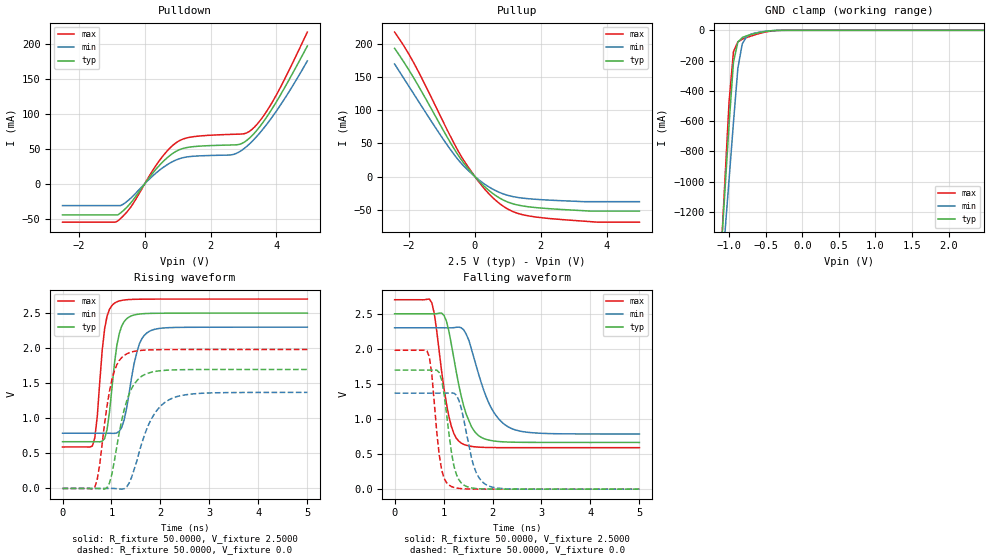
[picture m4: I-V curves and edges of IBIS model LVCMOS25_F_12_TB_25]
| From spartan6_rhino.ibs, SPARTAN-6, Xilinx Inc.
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|   Model LVCMOS25_F_12_TB_25
[Model]  LVCMOS25_F_12_TB_25
Model_type I/O
Polarity   Non-Inverting
Enable   Active-Low
Vinl =   0.7000V
Vinh =   1.7000V
Vmeas =  1.2500V
Cref =   0.0F
Rref =   1.0000M
Vref =   0.0V
C_comp   5.71pF   5.63pF   6.21pF
|C_comp   6.33pF   6.15pF   6.69pF
[Temperature Range]   25.0000   85.0000   0.0
[Voltage Range]   2.5000V   2.3000V   2.7000V
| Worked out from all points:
|   slope of the pulldown table from 0 to 0.375 V, typ, clamps not added: 16.5 ohm
|   slope of the pullup table from 0 to 0.375 V, typ, clamps not added: 19.9 ohm
|   GND clamp passes 1 mA (typ) near -0.36 V on its own axis
|   rising waveform, R_fixture 50.0000, V_fixture 2.5000: 20-80 % time 189ps typ, 250ps min, 153ps max; typ from 0.666 V to 2.5 V
|   rising waveform, R_fixture 50.0000, V_fixture 0.0: 20-80 % time 324ps typ, 445ps min, 252ps max; typ from 0 V to 1.7 V
|   falling waveform, R_fixture 50.0000, V_fixture 2.5000: 20-80 % time 343ps typ, 464ps min, 261ps max; typ from 2.5 V to 0.666 V
|   falling waveform, R_fixture 50.0000, V_fixture 0.0: 20-80 % time 199ps typ, 266ps min, 166ps max; typ from 1.7 V to 0 V
[Pulldown]
|Voltage   I(typ)   I(min)   I(max)
-2.5V     -44.83mA   -31.48mA   -55.28mA
-820mV    -44.83mA   -31.48mA   -53.49mA
-420mV    -27.23mA   -20.53mA   -33.16mA
460mV     27.15mA    19.89mA    34.21mA
940mV     46.23mA    33.88mA    58.48mA
1.42V     52.95mA    39.21mA    67.16mA
2.7V      55.71mA    42.13mA    71mA
2.94V     57.58mA    47.77mA    71.38mA
3.18V     65.42mA    57.04mA    75.18mA
3.5V      82.27mA    73.18mA    90.4mA
3.9V      110mA      97.7mA     119.2mA
4.94V     197.8mA    176.4mA    217.8mA
[Pullup]
|Voltage   I(typ)   I(min)   I(max)
-2.44V    193.7mA    170mA      218.3mA
-2.12V    170mA      145.2mA    194.3mA
-1.8V     144.1mA    120.3mA    166.4mA
-1V       73.4mA     59.15mA    86.43mA
-520mV    33.18mA    26.16mA    39.71mA
-280mV    16.65mA    12.89mA    20.02mA
200mV     -10.72mA   -8.051mA   -13.21mA
760mV     -32.74mA   -24.27mA   -41.21mA
1.24V     -42.34mA   -31.1mA    -54.6mA
1.88V     -47.06mA   -34.52mA   -61.36mA
3.72V     -52.2mA    -38mA      -68.9mA
5V        -52.2mA    -38mA      -69mA
[GND_clamp]
|Voltage   I(typ)   I(min)   I(max)
-2.5V     -12.34A    -10.45A    -14.37A
-1.12V    -1.552A    -1.737A    -1.574A
-1.06V    -1.086A    -1.36A     -1.022A
-1V       -620.4mA   -984.2mA   -471mA
-940mV    -209.6mA   -607.7mA   -140.9mA
-880mV    -78.13mA   -250.8mA   -75.95mA
-820mV    -47.69mA   -89.21mA   -58.81mA
-760mV    -36.14mA   -40.83mA   -47.69mA
-700mV    -27.77mA   -25.02mA   -37.69mA
-520mV    -8.687mA   -7.489mA   -13.24mA
-400mV    -1.765mA   -1.693mA   -3.422mA
2.48V     29.1nA     237.4nA    26.83nA
[POWER_clamp]
|Voltage   I(typ)   I(min)   I(max)
-2.49V    0A         0A         0A
-2.46V    0A         0A         0A
-2.43V    0A         0A         0A
0V        0A         0A         0A
[Ramp]
| variable   typ   min   max
dV/dt_r  1.0176/0.3215n   0.8214/0.4442n   1.1880/0.2495n
dV/dt_f  1.1003/0.3383n   0.9079/0.4610n   1.2651/0.2599n
R_load = 50.0000
[Rising Waveform]
R_fixture= 50.0000
V_fixture= 2.5000
V_fixture_min= 2.3000
V_fixture_max= 2.7000
|time   V(typ)   V(min)   V(max)
0s        666.2mV    787.2mV    591.5mV
610ps     666.2mV    786.8mV    605.5mV
710ps     665.9mV    786.8mV    1.027V
860ps     711.4mV    786.8mV    2.277V
960ps     1.093V     786.6mV    2.554V
1.06ns    1.777V     785mV      2.641V
1.26ns    2.379V     980.7mV    2.686V
1.52ns    2.48V      1.944V     2.696V
1.77ns    2.494V     2.238V     2.698V
5ns       2.499V     2.299V     2.699V
[Rising Waveform]
R_fixture= 50.0000
V_fixture= 0.0
|time   V(typ)   V(min)   V(max)
0s        0V         4.306uV    3.744uV
660ps     4.656uV    -4.821uV   20.05mV
760ps     -745.3uV   -4.264uV   343.2mV
910ps     13.03mV    -32.63uV   1.182V
1.01ns    208.9mV    320.2uV    1.557V
1.31ns    1.244V     22.28mV    1.918V
1.46ns    1.485V     264.8mV    1.954V
1.77ns    1.648V     928.2mV    1.975V
2.17ns    1.687V     1.262V     1.979V
5ns       1.696V     1.369V     1.98V
[Falling Waveform]
R_fixture= 50.0000
V_fixture= 2.5000
V_fixture_min= 2.3000
V_fixture_max= 2.7000
|time   V(typ)   V(min)   V(max)
0s        2.5V       2.3V       2.7V
760ps     2.499V     2.3V       2.655V
1.06ns    2.391V     2.299V     1.214V
1.21ns    1.865V     2.302V     793.3mV
1.36ns    1.326V     2.301V     656.9mV
1.52ns    971.4mV    2.115V     616.5mV
1.67ns    791.7mV    1.75V      601.5mV
1.97ns    693.3mV    1.163V     593.3mV
2.32ns    671.6mV    887.9mV    591.7mV
5ns       666.2mV    786.9mV    591.5mV
[Falling Waveform]
R_fixture= 50.0000
V_fixture= 0.0
|time   V(typ)   V(min)   V(max)
0s        1.697V     1.369V     1.98V
660ps     1.697V     1.369V     1.973V
760ps     1.697V     1.369V     1.637V
860ps     1.697V     1.369V     823.6mV
960ps     1.56V      1.369V     278.2mV
1.16ns    530.7mV    1.373V     37.78mV
1.36ns    89.89mV    1.158V     7.681mV
1.62ns    12.65mV    320.9mV    1.2mV
1.87ns    2.561mV    63.03mV    243.2uV
5ns       38.43uV    94.63uV    5.525uV
